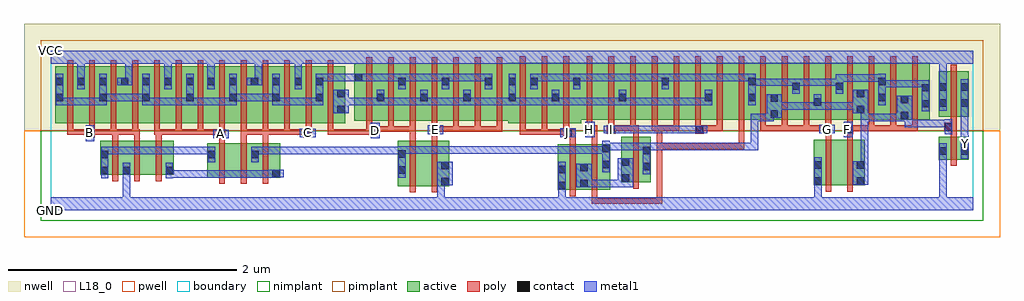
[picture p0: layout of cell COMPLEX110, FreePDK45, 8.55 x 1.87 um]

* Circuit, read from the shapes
.subckt COMPLEX110 A B C D E F G GND H I J VCC Y
M1 GND B n1 VSUBS nfet w=0.3u l=0.05u
M2 n2 B GND VSUBS nfet w=0.3u l=0.05u
M3 n3 A n2 VSUBS nfet w=0.3u l=0.05u
M4 n4 A n1 VSUBS nfet w=0.3u l=0.05u
M5 n5 C n4 VSUBS nfet w=0.3u l=0.05u
M6 n3 C n5 VSUBS nfet w=0.3u l=0.05u
M7 n6 D n5 VSUBS nfet w=0.4u l=0.05u
M8 GND E n6 VSUBS nfet w=0.4u l=0.05u
M9 n7 J GND VSUBS nfet w=0.4u l=0.05u
M10 n5 H n7 VSUBS nfet w=0.4u l=0.05u
M11 n5 I n7 VSUBS nfet w=0.4u l=0.05u
M12 n8 G GND VSUBS nfet w=0.4u l=0.05u
M13 n5 F n8 VSUBS nfet w=0.4u l=0.05u
M14 Y n5 GND VSUBS nfet w=0.2u l=0.05u
M15 VCC B n9 n10 pfet w=0.5u l=0.05u m=4
M16 VCC A n9 n10 pfet w=0.5u l=0.05u m=4
M17 VCC C n9 n10 pfet w=0.5u l=0.05u m=4
M18 n11 D n9 n10 pfet w=0.5u l=0.05u m=4
M19 n9 E n11 n10 pfet w=0.5u l=0.05u m=4
M20 n12 J n11 n10 pfet w=0.533u l=0.05u m=3
M21 n13 H n12 n10 pfet w=0.5u l=0.05u
M22 n11 I n13 n10 pfet w=0.5u l=0.05u
M23 n14 I n11 n10 pfet w=0.5u l=0.05u
M24 n12 H n14 n10 pfet w=0.5u l=0.05u
M25 n15 H n12 n10 pfet w=0.5u l=0.05u
M26 n11 I n15 n10 pfet w=0.5u l=0.05u
M27 n16 I n11 n10 pfet w=0.5u l=0.05u
M28 n12 H n16 n10 pfet w=0.5u l=0.05u
M29 n5 G n12 n10 pfet w=0.5u l=0.05u m=4
M30 n5 F n12 n10 pfet w=0.5u l=0.05u m=4
M31 Y n5 VCC n10 pfet w=0.4u l=0.05u
.ends

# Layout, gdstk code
import gdstk
lib = gdstk.Library(unit=1e-6, precision=1e-09)
def R(c, l, rs):  # rectangles x0, y0, x1, y1
    for r in rs: c.add(gdstk.rectangle(r[:2], r[2:], *l))
def A(c, l, x, y, w, h, nx, ny, dx, dy):  # array of equal rectangles
    R(c, l, [(x+i*dx, y+j*dy, x+i*dx+w, y+j*dy+h) for i in range(nx) for j in range(ny)])
active = (1, 0)
pwell = (2, 0)
nwell = (3, 0)
nimplant = (4, 0)
pimplant = (5, 0)
poly = (9, 0)
contact = (10, 0)
metal1 = (11, 0)
L18_0 = (18, 0)
boundary = (235, 0)

complex110 = lib.new_cell('COMPLEX110')
A(complex110, active, 0.04, 0.762, 0.26, 0.5, 3, 1, 0.57, 0)
A(complex110, active, 0.225, 0.762, 0.27, 0.5, 4, 1, 0.57, 0)
A(complex110, active, 2.66, 0.787, 0.265, 0.5, 5, 1, 0.19, 0)
A(complex110, active, 5.195, 0.795, 0.225, 0.5, 3, 1, 0.38, 0)
A(complex110, active, 6.3, 0.795, 0.265, 0.5, 3, 1, 0.19, 0)
A(complex110, active, 2.85, 0.807, 0.075, 0.263, 3, 1, 0.38, 0)
R(complex110, active, [(4.442,0.18,4.517,0.58), (4.442,0.18,4.707,0.58), (4.632,0.18,4.9,0.58), (4.632,0.2,4.707,0.492), (3.04,0.212,3.265,0.612), (3.265,0.212,3.49,0.612), (3.415,0.212,3.49,0.612), (6.682,0.22,6.757,0.62), (6.682,0.22,6.907,0.62), (6.907,0.22,7.132,0.62), (7.057,0.22,7.132,0.62), (3.04,0.245,3.115,0.612), (4.825,0.245,4.9,0.58), (4.997,0.245,5.072,0.645), (4.997,0.245,5.257,0.645), (5.182,0.245,5.257,0.645), (1.37,0.287,1.595,0.587), (1.595,0.287,1.825,0.587), (1.75,0.287,2.01,0.587), (1.935,0.287,2.01,0.587), (0.435,0.312,0.51,0.612), (0.435,0.312,0.7,0.612), (0.625,0.312,0.85,0.612), (0.625,0.312,0.7,0.392), (0.85,0.312,1.075,0.612), (1,0.312,1.075,0.612), (1.37,0.33,1.445,0.587), (1.75,0.33,1.825,0.527), (7.78,0.445,7.855,0.645), (7.78,0.445,8.04,0.645), (7.965,0.445,8.04,0.645), (0.04,0.762,0.115,1.2), (0.42,0.762,0.685,1.262), (0.99,0.762,1.255,1.262), (1.56,0.762,1.82,1.262), (1.745,0.762,2.01,1.262), (2.13,0.762,2.39,1.262), (2.315,0.762,2.58,1.262), (2.505,0.762,2.58,1.07), (4.005,0.762,4.27,1.295), (4.195,0.762,4.46,1.295), (4.385,0.762,4.645,1.295), (4.195,0.775,4.27,1.2), (4.385,0.775,4.46,1.07), (2.66,0.787,2.735,1.2), (3.61,0.787,3.87,1.287), (3.795,0.787,4.08,1.287), (4.57,0.795,4.815,1.295), (4.815,0.795,5.045,1.295), (4.97,0.795,5.195,1.295), (5.345,0.795,5.575,1.295), (5.725,0.795,5.955,1.295), (6.105,0.795,6.375,1.295), (6.3,0.795,6.375,1.07), (6.87,0.795,7.132,1.295), (7.057,0.795,7.32,1.295), (7.245,0.795,7.515,1.295), (7.44,0.795,7.7,1.295), (7.44,0.795,7.515,1.07), (7.625,0.795,7.7,1.2), (3.42,0.802,3.495,1.2), (6.87,0.802,6.945,1.2), (0.225,0.807,0.3,1.255), (0.42,0.807,0.495,1.2), (0.61,0.807,0.685,1.255), (0.795,0.807,0.87,1.2), (0.99,0.807,1.065,1.255), (1.18,0.807,1.255,1.2), (1.365,0.807,1.44,1.255), (1.56,0.807,1.635,1.2), (1.745,0.807,1.82,1.255), (1.935,0.807,2.01,1.2), (2.13,0.807,2.205,1.255), (2.315,0.807,2.39,1.2), (3.04,0.807,3.115,1.2), (3.795,0.807,3.87,1.2), (4.005,0.807,4.08,1.2), (4.57,0.807,4.645,1.2), (4.97,0.807,5.045,1.07), (5.345,0.807,5.42,1.2), (5.725,0.807,5.8,1.07), (6.105,0.807,6.18,1.2), (6.49,0.807,6.565,1.2), (6.68,0.807,6.755,1.07), (7.057,0.807,7.132,1.07), (7.245,0.807,7.32,1.2), (7.78,0.82,7.855,1.22), (7.78,0.82,8.04,1.22), (7.965,0.82,8.04,1.155)])
R(complex110, pwell, [(-0.235,-0.235,8.315,0.7)])
R(complex110, nwell, [(-0.235,0.7,8.315,1.635)])
R(complex110, nimplant, [(-0.09,-0.09,8.17,0.7)])
R(complex110, pimplant, [(-0.09,0.7,8.17,1.49)])
A(complex110, poly, 1.475, 0.232, 0.05, 0.41, 3, 1, 0.19, 0)
A(complex110, poly, 0.54, 0.257, 0.05, 0.41, 3, 1, 0.19, 0)
A(complex110, poly, 0.54, 0.617, 0.05, 0.095, 3, 1, 0.19, 0)
A(complex110, poly, 0.145, 0.662, 0.05, 0.095, 13, 1, 0.19, 0)
A(complex110, poly, 0.525, 0.662, 0.065, 0.05, 3, 1, 0.19, 0)
A(complex110, poly, 4.11, 0.662, 0.05, 0.095, 3, 1, 0.19, 0)
A(complex110, poly, 2.765, 0.687, 0.05, 0.095, 7, 1, 0.19, 0)
A(complex110, poly, 4.695, 0.695, 0.05, 0.095, 7, 1, 0.19, 0)
A(complex110, poly, 6.215, 0.695, 0.05, 0.095, 8, 1, 0.19, 0)
A(complex110, poly, 0.145, 0.707, 0.05, 0.61, 13, 1, 0.19, 0)
A(complex110, poly, 4.11, 0.707, 0.05, 0.643, 3, 1, 0.19, 0)
A(complex110, poly, 2.765, 0.732, 0.05, 0.61, 7, 1, 0.19, 0)
A(complex110, poly, 4.695, 0.74, 0.05, 0.61, 16, 1, 0.19, 0)
R(complex110, poly, [(4.737,0.057,4.787,0.107), (4.737,0.057,4.787,0.107), (4.737,0.057,4.787,0.107), (4.737,0.057,4.92,0.107), (4.737,0.057,4.787,0.175), (4.87,0.057,4.92,0.107), (4.87,0.057,4.92,0.107), (4.87,0.057,4.92,0.107), (4.87,0.057,5.182,0.107), (5.132,0.057,5.182,0.107), (5.132,0.057,5.357,0.107), (5.307,0.057,5.357,0.107), (5.307,0.057,5.357,0.107), (5.307,0.057,5.357,0.107), (5.307,0.057,5.357,0.107), (5.307,0.057,5.357,0.107), (5.307,0.057,5.357,0.587), (4.547,0.125,4.597,0.635), (4.737,0.125,4.787,0.635), (3.145,0.157,3.195,0.667), (3.335,0.157,3.385,0.667), (6.787,0.165,6.837,0.675), (6.977,0.165,7.027,0.675), (5.102,0.19,5.152,0.7), (7.885,0.39,7.935,0.7), (5.307,0.537,5.357,0.587), (5.307,0.537,5.49,0.587), (5.307,0.537,5.357,0.745), (5.44,0.537,5.49,0.587), (5.44,0.537,5.49,0.587), (5.44,0.537,5.49,0.587), (5.44,0.537,5.622,0.587), (5.572,0.537,5.622,0.587), (5.572,0.537,5.752,0.587), (5.702,0.537,5.752,0.587), (5.702,0.537,5.942,0.587), (5.892,0.537,5.942,0.587), (5.892,0.537,5.942,0.587), (5.892,0.537,5.942,0.587), (5.892,0.537,6.075,0.587), (6.025,0.537,6.075,0.587), (6.025,0.537,6.075,0.587), (6.025,0.537,6.075,0.587), (6.025,0.537,6.075,0.587), (6.025,0.537,6.075,0.587), (6.025,0.537,6.075,0.587), (6.025,0.537,6.075,0.587), (6.025,0.537,6.075,0.587), (6.025,0.537,6.075,0.587), (6.025,0.537,6.075,0.79), (4.547,0.585,4.597,0.687), (4.737,0.585,4.787,0.72), (1.475,0.592,1.525,0.687), (1.665,0.592,1.715,0.712), (1.855,0.592,1.905,0.712), (3.145,0.617,3.195,0.737), (3.335,0.617,3.385,0.712), (6.787,0.625,6.837,0.72), (6.977,0.625,7.027,0.72), (0.31,0.637,0.385,0.712), (1.452,0.637,1.527,0.712), (2.21,0.637,2.285,0.712), (4.49,0.637,4.597,0.712), (5.102,0.65,5.152,0.745), (7.885,0.65,7.935,0.745), (0.145,0.662,0.195,0.712), (0.145,0.662,0.36,0.712), (0.31,0.662,0.36,0.712), (0.31,0.662,0.36,0.712), (0.335,0.662,0.575,0.712), (0.525,0.662,0.575,0.712), (0.525,0.662,0.575,0.712), (0.54,0.662,0.765,0.712), (0.715,0.662,0.765,0.712), (0.715,0.662,0.765,0.712), (0.92,0.662,0.97,0.712), (0.92,0.662,0.97,0.712), (0.92,0.662,1.145,0.712), (1.095,0.662,1.145,0.712), (1.095,0.662,1.145,0.712), (1.095,0.662,1.145,0.712), (1.095,0.662,1.335,0.712), (1.285,0.662,1.335,0.712), (1.285,0.662,1.335,0.712), (1.285,0.662,1.335,0.712), (1.285,0.662,1.502,0.712), (1.665,0.662,1.715,0.712), (1.665,0.662,1.715,0.712), (1.665,0.662,1.715,0.712), (1.665,0.662,1.905,0.712), (1.855,0.662,1.905,0.712), (1.855,0.662,1.905,0.712), (1.855,0.662,1.905,0.712), (1.855,0.662,2.095,0.712), (2.045,0.662,2.095,0.712), (2.045,0.662,2.095,0.712), (2.045,0.662,2.095,0.712), (2.045,0.662,2.26,0.712), (2.425,0.662,2.475,0.712), (2.425,0.662,2.475,0.712), (2.425,0.662,2.475,0.712), (2.425,0.662,2.815,0.712), (2.765,0.662,2.815,0.712), (2.765,0.662,2.815,0.712), (2.765,0.662,2.872,0.737), (3.332,0.662,3.407,0.737), (4.11,0.662,4.16,0.712), (4.11,0.662,4.35,0.712), (4.3,0.662,4.35,0.712), (4.3,0.662,4.35,0.712), (4.3,0.662,4.35,0.712), (4.3,0.662,4.54,0.712), (4.49,0.662,4.54,0.712), (4.49,0.662,4.54,0.712), (4.695,0.67,4.787,0.745), (4.872,0.67,4.947,0.745), (5.645,0.67,5.72,0.745), (6.762,0.67,6.837,0.745), (6.955,0.67,7.03,0.745), (2.822,0.687,3.005,0.737), (2.955,0.687,3.005,0.737), (2.955,0.687,3.005,0.737), (2.955,0.687,3.005,0.737), (2.955,0.687,3.195,0.737), (3.145,0.687,3.195,0.737), (3.145,0.687,3.195,0.737), (3.145,0.687,3.195,0.737), (3.357,0.687,3.575,0.737), (3.525,0.687,3.575,0.737), (3.525,0.687,3.575,0.737), (3.525,0.687,3.575,0.737), (3.525,0.687,3.765,0.737), (3.715,0.687,3.765,0.737), (3.715,0.687,3.765,0.737), (3.715,0.687,3.765,0.737), (3.715,0.687,3.955,0.737), (3.905,0.687,3.955,0.737), (3.905,0.687,3.955,0.737), (3.905,0.687,3.955,0.737), (4.897,0.695,4.947,0.745), (4.897,0.695,4.947,0.745), (4.897,0.695,5.125,0.745), (5.075,0.695,5.152,0.745), (5.265,0.695,5.357,0.745), (5.307,0.695,5.357,0.745), (5.307,0.695,5.357,0.745), (5.307,0.695,5.357,0.745), (5.307,0.695,5.357,0.745), (5.307,0.695,5.49,0.745), (5.44,0.695,5.49,0.745), (5.44,0.695,5.505,0.745), (5.455,0.695,5.505,0.745), (5.67,0.695,5.755,0.745), (5.705,0.695,5.755,0.745), (5.705,0.695,5.885,0.745), (5.835,0.695,5.885,0.745), (6.215,0.695,6.265,0.745), (6.215,0.695,6.265,0.745), (6.215,0.695,6.265,0.745), (6.215,0.695,6.455,0.745), (6.405,0.695,6.455,0.745), (6.405,0.695,6.455,0.745), (6.405,0.695,6.455,0.745), (6.405,0.695,6.645,0.745), (6.595,0.695,6.645,0.745), (6.595,0.695,6.645,0.745), (6.595,0.695,6.645,0.745), (6.595,0.695,6.812,0.745), (6.98,0.695,7.03,0.745), (6.98,0.695,7.03,0.745), (6.98,0.695,7.215,0.745), (7.165,0.695,7.215,0.745), (7.165,0.695,7.405,0.745), (7.355,0.695,7.405,0.745), (7.355,0.695,7.405,0.745), (7.355,0.695,7.405,0.745), (7.355,0.695,7.595,0.745), (7.545,0.695,7.595,0.745), (7.545,0.695,7.595,0.745), (7.545,0.695,7.595,0.745), (7.827,0.695,7.935,0.77), (7.885,0.72,7.935,0.815), (7.885,0.765,7.935,1.275)])
A(complex110, contact, 2.855, 0.957, 0.065, 0.065, 3, 1, 0.38, 0)
R(complex110, contact, [(4.447,0.185,4.512,0.25), (4.637,0.205,4.702,0.27), (3.42,0.22,3.485,0.285), (6.687,0.225,6.752,0.29), (7.062,0.225,7.127,0.29), (5.002,0.25,5.067,0.315), (1.94,0.292,2.005,0.357), (0.44,0.317,0.505,0.382), (0.63,0.317,0.695,0.382), (1.005,0.317,1.07,0.382), (3.045,0.322,3.11,0.387), (4.447,0.325,4.512,0.39), (4.637,0.345,4.702,0.41), (5.187,0.352,5.252,0.417), (3.42,0.36,3.485,0.425), (6.687,0.365,6.752,0.43), (7.062,0.365,7.127,0.43), (4.83,0.37,4.895,0.435), (5.002,0.39,5.067,0.455), (0.44,0.457,0.505,0.522), (1.375,0.457,1.44,0.522), (1.755,0.457,1.82,0.522), (3.045,0.462,3.11,0.527), (7.785,0.487,7.85,0.552), (7.97,0.487,8.035,0.552), (5.187,0.492,5.252,0.557), (4.83,0.51,4.895,0.575), (0.315,0.642,0.38,0.707), (1.457,0.642,1.522,0.707), (2.215,0.642,2.28,0.707), (4.497,0.642,4.562,0.707), (2.802,0.667,2.867,0.732), (3.337,0.667,3.402,0.732), (4.7,0.675,4.765,0.74), (4.877,0.675,4.942,0.74), (5.65,0.675,5.715,0.74), (6.767,0.675,6.832,0.74), (6.96,0.675,7.025,0.74), (7.832,0.7,7.897,0.765), (7.445,0.8,7.51,0.865), (6.305,0.812,6.37,0.877), (7.062,0.85,7.127,0.915), (2.51,0.852,2.575,0.917), (7.63,0.902,7.695,0.967), (7.785,0.907,7.85,0.972), (7.97,0.907,8.035,0.972), (6.685,0.917,6.75,0.982), (7.445,0.94,7.51,1.005), (6.305,0.952,6.37,1.017), (0.045,0.955,0.11,1.02), (0.425,0.955,0.49,1.02), (0.8,0.955,0.865,1.02), (1.185,0.955,1.25,1.02), (1.565,0.955,1.63,1.02), (1.94,0.955,2.005,1.02), (2.32,0.955,2.385,1.02), (4.01,0.955,4.075,1.02), (6.11,0.955,6.175,1.02), (7.25,0.955,7.315,1.02), (4.39,0.957,4.455,1.022), (4.975,0.957,5.04,1.022), (5.73,0.957,5.795,1.022), (7.062,0.99,7.127,1.055), (2.51,0.992,2.575,1.057), (7.63,1.042,7.695,1.107), (7.785,1.047,7.85,1.112), (7.97,1.047,8.035,1.112), (6.495,1.055,6.56,1.12), (6.875,1.055,6.94,1.12), (0.045,1.095,0.11,1.16), (0.23,1.095,0.295,1.16), (0.425,1.095,0.49,1.16), (0.615,1.095,0.68,1.16), (0.8,1.095,0.865,1.16), (0.995,1.095,1.06,1.16), (1.185,1.095,1.25,1.16), (1.37,1.095,1.435,1.16), (1.565,1.095,1.63,1.16), (1.75,1.095,1.815,1.16), (1.94,1.095,2.005,1.16), (2.135,1.095,2.2,1.16), (2.32,1.095,2.385,1.16), (3.045,1.095,3.11,1.16), (3.425,1.095,3.49,1.16), (3.8,1.095,3.865,1.16), (4.01,1.095,4.075,1.16), (4.2,1.095,4.265,1.16), (4.575,1.095,4.64,1.16), (5.35,1.095,5.415,1.16), (6.11,1.095,6.175,1.16), (7.25,1.095,7.315,1.16), (2.665,1.13,2.73,1.195)])
A(complex110, metal1, 2.855, 0.922, 0.065, 0.135, 3, 1, 0.38, 0)
R(complex110, metal1, [(0,0,8.08,0.115), (0.63,0.05,0.695,0.347), (3.385,0.05,3.45,0.285), (4.447,0.05,4.512,0.115), (4.447,0.05,4.512,0.115), (4.447,0.05,4.512,0.215), (6.687,0.05,6.752,0.255), (7.785,0.05,7.85,0.115), (7.785,0.05,7.85,0.115), (7.785,0.05,7.85,0.115), (7.785,0.05,7.85,0.115), (7.785,0.05,7.85,0.115), (7.785,0.05,7.85,0.115), (7.785,0.05,7.85,0.517), (4.447,0.15,4.512,0.425), (6.687,0.19,6.752,0.465), (6.687,0.19,6.752,0.255), (6.687,0.19,6.752,0.255), (4.602,0.205,4.737,0.41), (4.672,0.205,4.745,0.27), (4.68,0.205,4.745,0.27), (4.68,0.205,4.895,0.27), (4.83,0.205,4.895,0.27), (4.83,0.205,4.977,0.27), (4.912,0.205,4.977,0.27), (4.912,0.205,5.032,0.27), (4.967,0.205,5.102,0.455), (3.385,0.22,3.45,0.285), (3.385,0.22,3.45,0.285), (3.385,0.22,3.52,0.425), (7.027,0.225,7.162,0.43), (0.44,0.282,0.505,0.557), (0.63,0.282,0.695,0.347), (0.63,0.282,0.695,0.347), (0.63,0.282,0.695,0.347), (0.63,0.282,0.695,0.347), (0.63,0.282,0.695,0.417), (1.005,0.282,1.07,0.417), (1.005,0.285,1.07,0.35), (1.005,0.285,1.07,0.35), (1.005,0.285,1.25,0.35), (1.185,0.285,1.25,0.35), (1.185,0.285,1.25,0.35), (1.185,0.285,1.25,0.35), (1.185,0.285,1.435,0.35), (1.37,0.285,1.435,0.35), (1.37,0.285,1.435,0.35), (1.37,0.285,1.435,0.35), (1.37,0.285,1.642,0.35), (1.577,0.285,1.642,0.35), (1.577,0.285,1.642,0.35), (1.577,0.285,1.642,0.35), (1.577,0.285,1.832,0.35), (1.767,0.285,1.832,0.35), (1.767,0.285,1.97,0.35), (1.905,0.285,1.97,0.357), (3.045,0.287,3.11,0.562), (1.905,0.292,1.97,0.357), (1.905,0.292,2.04,0.357), (5.187,0.317,5.252,0.592), (4.83,0.335,4.895,0.61), (7.097,0.365,7.162,0.43), (7.097,0.365,7.162,0.43), (7.097,0.365,7.162,0.915), (1.375,0.422,1.44,0.557), (1.755,0.422,1.82,0.557), (7.785,0.452,7.85,0.587), (7.97,0.452,8.035,0.587), (0.44,0.492,0.505,0.557), (0.44,0.492,0.505,0.557), (0.44,0.492,0.727,0.557), (0.662,0.492,0.727,0.557), (0.662,0.492,0.727,0.557), (0.662,0.492,0.727,0.557), (0.662,0.492,0.865,0.557), (0.8,0.492,0.865,0.557), (0.8,0.492,0.865,0.557), (0.8,0.492,0.865,0.557), (0.8,0.492,1.002,0.557), (0.937,0.492,1.002,0.557), (0.937,0.492,1.002,0.557), (0.937,0.492,1.002,0.557), (0.937,0.492,1.297,0.557), (1.232,0.492,1.297,0.557), (1.232,0.492,1.297,0.557), (1.232,0.492,1.297,0.557), (1.232,0.492,1.44,0.557), (1.755,0.492,1.82,0.557), (1.755,0.492,1.82,0.557), (1.755,0.492,2.007,0.557), (1.942,0.492,2.007,0.557), (1.942,0.492,2.107,0.557), (2.042,0.492,2.107,0.557), (2.042,0.492,2.247,0.557), (2.182,0.492,2.247,0.557), (2.182,0.492,2.247,0.557), (2.182,0.492,2.247,0.557), (2.182,0.492,2.385,0.557), (2.32,0.492,2.385,0.557), (2.32,0.492,2.522,0.557), (2.457,0.492,2.522,0.557), (2.457,0.492,2.522,0.557), (2.457,0.492,2.522,0.557), (2.457,0.492,2.747,0.557), (2.682,0.492,2.747,0.557), (2.682,0.492,2.747,0.557), (2.682,0.492,2.747,0.557), (2.682,0.492,2.902,0.557), (2.837,0.492,2.902,0.557), (2.837,0.492,2.902,0.557), (2.837,0.492,2.902,0.557), (2.837,0.492,3.11,0.557), (3.045,0.497,3.11,0.562), (3.045,0.497,3.11,0.562), (3.045,0.497,3.3,0.562), (3.235,0.497,3.3,0.562), (3.235,0.497,3.437,0.562), (3.372,0.497,3.437,0.562), (3.372,0.497,3.437,0.562), (3.372,0.497,3.437,0.562), (3.372,0.497,3.705,0.562), (3.64,0.497,3.705,0.562), (3.64,0.497,3.705,0.562), (3.64,0.497,3.705,0.562), (3.64,0.497,3.842,0.562), (3.777,0.497,3.842,0.562), (3.777,0.497,3.842,0.562), (3.777,0.497,3.842,0.562), (3.777,0.497,3.98,0.562), (3.915,0.497,3.98,0.562), (3.915,0.497,4.127,0.562), (4.062,0.497,4.127,0.562), (4.062,0.497,4.127,0.562), (4.062,0.497,4.127,0.562), (4.062,0.497,4.317,0.562), (4.252,0.497,4.317,0.562), (4.252,0.497,4.317,0.562), (4.252,0.497,4.317,0.562), (4.252,0.497,4.47,0.562), (4.405,0.497,4.47,0.562), (4.405,0.497,4.47,0.562), (4.405,0.497,4.47,0.562), (4.405,0.497,4.65,0.562), (4.585,0.497,4.65,0.562), (4.585,0.497,4.757,0.562), (4.692,0.497,4.757,0.562), (4.692,0.497,4.895,0.562), (7.97,0.522,8.035,0.587), (7.97,0.522,8.042,0.657), (4.83,0.527,4.977,0.592), (4.912,0.527,4.977,0.592), (4.912,0.527,5.115,0.592), (5.05,0.527,5.115,0.592), (5.05,0.527,5.115,0.592), (5.05,0.527,5.115,0.592), (5.05,0.527,5.252,0.592), (5.187,0.527,5.252,0.592), (5.187,0.527,5.252,0.592), (5.187,0.527,5.39,0.592), (5.325,0.527,5.39,0.592), (5.325,0.527,5.39,0.592), (5.325,0.527,5.39,0.592), (5.325,0.527,5.552,0.592), (5.487,0.527,5.552,0.592), (5.487,0.527,5.552,0.592), (5.487,0.527,5.552,0.592), (5.487,0.527,5.69,0.592), (5.625,0.527,5.69,0.592), (5.625,0.527,5.69,0.592), (5.625,0.527,5.69,0.592), (5.625,0.527,6.037,0.592), (5.972,0.527,6.037,0.592), (5.972,0.527,6.037,0.592), (5.972,0.527,6.037,0.592), (5.972,0.527,6.197,0.592), (6.132,0.527,6.197,0.592), (6.132,0.527,6.197,0.847), (7.97,0.592,8.035,0.937), (0.305,0.607,0.38,0.747), (1.422,0.63,1.557,0.707), (2.802,0.63,2.88,0.767), (4.682,0.64,4.765,0.777), (6.947,0.64,7.025,0.777), (2.18,0.642,2.32,0.717), (4.462,0.642,4.597,0.72), (7.832,0.665,7.897,0.8), (3.302,0.667,3.437,0.745), (4.842,0.675,4.977,0.742), (4.912,0.675,5.115,0.74), (5.05,0.675,5.115,0.74), (5.05,0.675,5.115,0.74), (5.05,0.675,5.115,0.74), (5.05,0.675,5.252,0.74), (5.187,0.675,5.252,0.74), (5.187,0.675,5.252,0.74), (5.187,0.675,5.252,0.74), (5.187,0.675,5.39,0.74), (5.325,0.675,5.39,0.74), (5.325,0.675,5.39,0.74), (5.325,0.675,5.39,0.74), (5.325,0.675,5.552,0.74), (5.487,0.675,5.552,0.74), (5.487,0.675,5.68,0.74), (5.615,0.675,5.75,0.74), (6.732,0.675,6.867,0.752), (7.48,0.73,7.545,0.795), (7.48,0.73,7.545,0.865), (7.48,0.73,7.695,0.795), (7.63,0.73,7.695,0.795), (7.63,0.73,7.695,0.795), (7.63,0.73,7.695,0.795), (7.63,0.73,7.897,0.795), (7.832,0.73,7.897,0.795), (7.832,0.73,7.897,0.795), (6.132,0.782,6.197,0.847), (6.132,0.782,6.197,0.847), (6.132,0.782,6.197,0.847), (6.132,0.782,6.335,0.847), (6.27,0.782,6.335,0.877), (7.097,0.782,7.337,0.847), (7.097,0.782,7.162,0.915), (7.272,0.782,7.337,0.847), (7.272,0.782,7.475,0.847), (7.41,0.782,7.475,0.865), (7.41,0.8,7.475,0.865), (7.41,0.8,7.545,1.005), (6.27,0.812,6.335,0.877), (6.27,0.812,6.405,1.017), (7.027,0.85,7.162,1.055), (7.097,0.85,7.162,0.915), (2.475,0.852,2.61,1.057), (7.63,0.867,7.695,1.142), (7.785,0.872,7.85,1.147), (7.97,0.872,8.035,1.147), (6.34,0.882,6.472,0.947), (6.407,0.882,6.472,0.947), (6.407,0.882,6.612,0.947), (6.547,0.882,6.612,0.947), (6.547,0.882,6.612,0.947), (6.547,0.882,6.612,0.947), (6.547,0.882,6.75,0.947), (6.685,0.882,6.75,0.947), (6.685,0.882,6.75,0.947), (6.685,0.882,6.75,1.017), (6.685,0.882,6.91,0.947), (6.845,0.882,6.91,0.947), (6.845,0.882,6.91,0.947), (6.845,0.882,6.91,0.947), (6.845,0.882,7.092,0.947), (0.045,0.92,0.11,1.195), (0.425,0.92,0.49,1.195), (0.8,0.92,0.865,1.195), (1.185,0.92,1.25,1.195), (1.565,0.92,1.63,1.195), (1.94,0.92,2.005,1.195), (1.94,0.92,2.107,0.985), (2.042,0.92,2.107,0.985), (2.042,0.92,2.247,0.985), (2.182,0.92,2.247,0.985), (2.182,0.92,2.385,0.985), (2.32,0.92,2.385,1.195), (2.32,0.92,2.385,0.985), (2.32,0.92,2.385,0.985), (4.01,0.92,4.075,1.195), (6.11,0.92,6.175,1.195), (7.25,0.92,7.315,1.195), (0.045,0.922,0.11,0.987), (0.045,0.922,0.11,0.987), (0.045,0.922,0.352,0.987), (0.287,0.922,0.352,0.987), (0.287,0.922,0.352,0.987), (0.287,0.922,0.352,0.987), (0.287,0.922,0.49,0.987), (0.8,0.922,0.865,0.987), (0.8,0.922,0.865,0.987), (0.8,0.922,1.112,0.987), (1.047,0.922,1.112,0.987), (1.047,0.922,1.112,0.987), (1.047,0.922,1.112,0.987), (1.047,0.922,1.25,0.987), (1.185,0.922,1.25,0.987), (1.185,0.922,1.25,0.987), (1.185,0.922,1.492,0.987), (1.427,0.922,1.492,0.987), (1.427,0.922,1.492,0.987), (1.427,0.922,1.492,0.987), (1.427,0.922,1.63,0.987), (2.545,0.922,2.747,0.987), (2.682,0.922,2.747,0.987), (2.682,0.922,2.747,0.987), (2.682,0.922,2.747,0.987), (2.682,0.922,2.92,0.987), (2.855,0.922,2.92,0.987), (2.855,0.922,2.92,0.987), (2.855,0.922,3.057,0.987), (2.992,0.922,3.057,0.987), (2.992,0.922,3.057,0.987), (2.992,0.922,3.057,0.987), (2.992,0.922,3.3,0.987), (3.235,0.922,3.3,0.987), (3.235,0.922,3.3,0.987), (3.235,0.922,3.542,0.987), (3.477,0.922,3.542,0.987), (3.477,0.922,3.68,0.987), (3.615,0.922,3.68,0.987), (3.615,0.922,3.68,0.987), (3.615,0.922,3.842,0.987), (3.777,0.922,3.842,0.987), (3.777,0.922,3.842,0.987), (3.777,0.922,3.842,0.987), (3.777,0.922,3.98,0.987), (3.915,0.922,3.98,0.987), (3.915,0.922,4.075,0.987), (4.01,0.922,4.127,0.987), (4.062,0.922,4.127,0.987), (4.062,0.922,4.317,0.987), (4.252,0.922,4.317,0.987), (4.252,0.922,4.317,0.987), (4.252,0.922,4.317,0.987), (4.252,0.922,4.455,0.987), (4.39,0.922,4.455,1.057), (4.39,0.922,4.607,0.987), (4.542,0.922,4.607,0.987), (4.542,0.922,4.607,0.987), (4.542,0.922,4.607,0.987), (4.542,0.922,4.745,0.987), (4.68,0.922,4.745,0.987), (4.68,0.922,4.895,0.987), (4.83,0.922,4.895,0.987), (4.83,0.922,4.895,0.987), (4.83,0.922,4.895,0.987), (4.83,0.922,5.04,0.987), (4.975,0.922,5.04,1.057), (4.975,0.922,5.115,0.987), (5.05,0.922,5.115,0.987), (5.05,0.922,5.252,0.987), (5.187,0.922,5.252,0.987), (5.187,0.922,5.252,0.987), (5.187,0.922,5.252,0.987), (5.187,0.922,5.415,0.987), (5.35,0.922,5.415,0.987), (5.35,0.922,5.415,0.987), (5.35,0.922,5.415,0.987), (5.35,0.922,5.552,0.987), (5.487,0.922,5.552,0.987), (5.487,0.922,5.552,0.987), (5.487,0.922,5.552,0.987), (5.487,0.922,5.795,0.987), (5.73,0.922,5.795,1.057), (0.425,0.957,0.49,1.022), (0.425,0.957,0.49,1.022), (0.425,0.957,0.727,1.022), (0.662,0.957,0.727,1.022), (0.662,0.957,0.727,1.022), (0.662,0.957,0.727,1.022), (0.662,0.957,0.865,1.022), (1.565,0.957,1.63,1.022), (1.565,0.957,1.63,1.022), (1.565,0.957,1.832,1.022), (1.767,0.957,1.832,1.022), (1.767,0.957,1.832,1.022), (1.767,0.957,1.832,1.022), (1.767,0.957,2.005,1.022), (6.495,1.02,6.56,1.155), (6.875,1.02,6.94,1.155), (0.23,1.06,0.295,1.195), (0.995,1.06,1.06,1.195), (1.37,1.06,1.435,1.195), (2.135,1.06,2.2,1.195), (3.045,1.06,3.11,1.195), (3.425,1.06,3.49,1.195), (3.8,1.06,3.865,1.195), (4.2,1.06,4.265,1.195), (4.575,1.06,4.64,1.195), (5.35,1.06,5.415,1.195), (7.25,1.077,7.557,1.142), (7.492,1.077,7.557,1.142), (7.492,1.077,7.557,1.142), (7.492,1.077,7.557,1.142), (7.492,1.077,7.695,1.142), (7.63,1.077,7.695,1.142), (7.63,1.077,7.695,1.142), (7.785,1.082,7.85,1.35), (6.11,1.09,6.175,1.155), (6.11,1.09,6.175,1.155), (6.11,1.09,6.422,1.155), (6.357,1.09,6.422,1.155), (6.357,1.09,6.472,1.155), (6.407,1.09,6.472,1.155), (6.407,1.09,6.56,1.155), (6.495,1.09,6.61,1.155), (6.545,1.09,6.61,1.155), (6.545,1.09,6.772,1.155), (6.707,1.09,6.772,1.155), (6.707,1.09,6.772,1.155), (6.707,1.09,6.772,1.155), (6.707,1.09,6.94,1.155), (6.875,1.09,6.94,1.155), (6.875,1.09,6.94,1.192), (0.58,1.095,0.715,1.16), (0.65,1.095,0.715,1.35), (1.715,1.095,1.85,1.16), (1.785,1.095,1.85,1.35), (6.875,1.127,7.177,1.192), (7.112,1.127,7.177,1.192), (7.112,1.127,7.2,1.192), (7.135,1.127,7.2,1.192), (7.135,1.127,7.315,1.192), (0.23,1.13,0.295,1.35), (0.995,1.13,1.06,1.35), (1.37,1.13,1.435,1.35), (2.135,1.13,2.2,1.35), (2.32,1.13,2.557,1.195), (2.492,1.13,2.557,1.195), (2.492,1.13,2.557,1.195), (2.492,1.13,2.557,1.195), (2.492,1.13,2.695,1.195), (2.63,1.13,2.765,1.195), (2.7,1.13,2.765,1.195), (2.7,1.13,2.765,1.195), (2.7,1.13,2.902,1.195), (2.837,1.13,2.902,1.195), (2.837,1.13,2.902,1.195), (2.837,1.13,2.902,1.195), (2.837,1.13,3.11,1.195), (3.045,1.13,3.11,1.195), (3.045,1.13,3.11,1.195), (3.045,1.13,3.247,1.195), (3.182,1.13,3.247,1.195), (3.182,1.13,3.49,1.195), (3.425,1.13,3.49,1.195), (3.425,1.13,3.49,1.195), (3.425,1.13,3.627,1.195), (3.562,1.13,3.627,1.195), (3.562,1.13,3.68,1.195), (3.615,1.13,3.68,1.195), (3.615,1.13,3.842,1.195), (3.777,1.13,3.842,1.195), (3.777,1.13,3.865,1.195), (4.2,1.13,4.265,1.195), (4.2,1.13,4.265,1.195), (4.2,1.13,4.455,1.195), (4.39,1.13,4.455,1.195), (4.39,1.13,4.607,1.195), (4.542,1.13,4.607,1.195), (4.542,1.13,4.64,1.195), (4.575,1.13,4.745,1.195), (4.68,1.13,4.745,1.195), (4.68,1.13,4.895,1.195), (4.83,1.13,4.895,1.195), (4.83,1.13,4.895,1.195), (4.83,1.13,4.895,1.195), (4.83,1.13,5.115,1.195), (5.05,1.13,5.115,1.195), (5.05,1.13,5.115,1.195), (5.05,1.13,5.115,1.195), (5.05,1.13,5.252,1.195), (5.187,1.13,5.252,1.195), (5.187,1.13,5.252,1.195), (5.187,1.13,5.252,1.195), (5.187,1.13,5.415,1.195), (5.35,1.13,5.415,1.195), (5.35,1.13,5.415,1.195), (5.35,1.13,5.552,1.195), (5.487,1.13,5.552,1.195), (5.487,1.13,5.552,1.195), (5.487,1.13,5.552,1.195), (5.487,1.13,5.69,1.195), (5.625,1.13,5.69,1.195), (5.625,1.13,5.9,1.195), (5.835,1.13,5.9,1.195), (5.835,1.13,5.9,1.195), (5.835,1.13,5.9,1.195), (5.835,1.13,6.037,1.195), (5.972,1.13,6.037,1.195), (5.972,1.13,6.175,1.195), (0,1.285,8.08,1.4)])
R(complex110, L18_0, [(0,0,8.08,0.115), (0.63,0.05,0.695,0.347), (3.385,0.05,3.45,0.285), (4.447,0.05,4.512,0.115), (4.447,0.05,4.512,0.115), (4.447,0.05,4.512,0.215), (6.687,0.05,6.752,0.255), (7.785,0.05,7.85,0.115), (7.785,0.05,7.85,0.115), (7.785,0.05,7.85,0.115), (7.785,0.05,7.85,0.115), (7.785,0.05,7.85,0.115), (7.785,0.05,7.85,0.115), (7.785,0.05,7.85,0.517), (4.447,0.15,4.512,0.425), (6.687,0.19,6.752,0.255), (6.687,0.19,6.752,0.255), (6.687,0.19,6.752,0.465), (3.385,0.22,3.45,0.285), (3.385,0.22,3.45,0.285), (3.385,0.22,3.52,0.425), (0.63,0.282,0.695,0.417), (0.63,0.282,0.695,0.347), (0.63,0.282,0.695,0.347), (0.63,0.282,0.695,0.347), (0.63,0.282,0.695,0.347), (7.785,0.452,7.85,0.587), (7.97,0.452,8.035,0.587), (7.97,0.522,8.035,0.587), (7.97,0.522,8.042,0.657), (7.977,0.557,8.042,0.622), (7.97,0.592,8.035,0.937), (0.305,0.607,0.38,0.747), (1.422,0.63,1.557,0.707), (2.802,0.63,2.88,0.767), (1.457,0.637,1.522,0.702), (4.682,0.64,4.765,0.777), (6.947,0.64,7.025,0.777), (2.18,0.642,2.32,0.717), (4.462,0.642,4.597,0.72), (0.307,0.647,0.372,0.712), (2.217,0.647,2.282,0.712), (4.497,0.647,4.562,0.712), (2.807,0.667,2.872,0.732), (3.302,0.667,3.437,0.745), (4.842,0.675,4.977,0.742), (4.912,0.675,5.115,0.74), (5.05,0.675,5.115,0.74), (5.05,0.675,5.115,0.74), (5.05,0.675,5.115,0.74), (5.05,0.675,5.252,0.74), (5.187,0.675,5.252,0.74), (5.187,0.675,5.252,0.74), (5.187,0.675,5.252,0.74), (5.187,0.675,5.39,0.74), (5.325,0.675,5.39,0.74), (5.325,0.675,5.39,0.74), (5.325,0.675,5.39,0.74), (5.325,0.675,5.552,0.74), (5.487,0.675,5.552,0.74), (5.487,0.675,5.68,0.74), (5.615,0.675,5.75,0.74), (6.732,0.675,6.867,0.752), (3.337,0.677,3.402,0.742), (4.687,0.677,4.752,0.742), (4.877,0.677,4.942,0.742), (6.767,0.677,6.832,0.742), (6.947,0.677,7.012,0.742), (7.785,0.872,7.85,1.147), (7.97,0.872,8.035,1.147), (0.23,1.06,0.295,1.195), (0.995,1.06,1.06,1.195), (1.37,1.06,1.435,1.195), (2.135,1.06,2.2,1.195), (7.785,1.082,7.85,1.35), (0.58,1.095,0.715,1.16), (0.65,1.095,0.715,1.35), (1.715,1.095,1.85,1.16), (1.785,1.095,1.85,1.35), (0.23,1.13,0.295,1.35), (0.995,1.13,1.06,1.35), (1.37,1.13,1.435,1.35), (2.135,1.13,2.2,1.35), (0,1.285,8.08,1.4)])
R(complex110, boundary, [(0,0,8.08,1.4)])
complex110.add(gdstk.Label('A', (1.49,0.67), layer=11, texttype=0))
complex110.add(gdstk.Label('B', (0.34,0.68), layer=11, texttype=0))
complex110.add(gdstk.Label('C', (2.25,0.68), layer=11, texttype=0))
complex110.add(gdstk.Label('D', (2.84,0.7), layer=11, texttype=0))
complex110.add(gdstk.Label('E', (3.37,0.71), layer=11, texttype=0))
complex110.add(gdstk.Label('F', (6.98,0.71), layer=11, texttype=0))
complex110.add(gdstk.Label('G', (6.8,0.71), layer=11, texttype=0))
complex110.add(gdstk.Label('H', (4.72,0.71), layer=11, texttype=0))
complex110.add(gdstk.Label('I', (4.91,0.71), layer=11, texttype=0))
complex110.add(gdstk.Label('J', (4.53,0.68), layer=11, texttype=0))
complex110.add(gdstk.Label('Y', (8.01,0.59), layer=11, texttype=0))
complex110.add(gdstk.Label('VCC', (0,1.4), layer=11, texttype=0))
complex110.add(gdstk.Label('GND', (0,0), layer=11, texttype=0))

lib.write_gds('COMPLEX110.gds')
